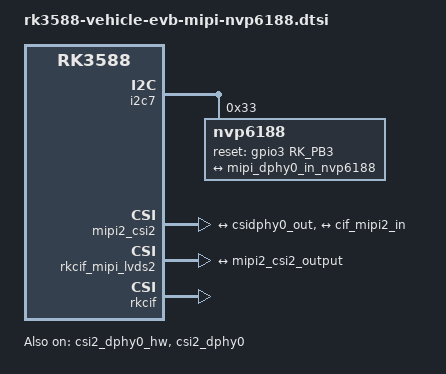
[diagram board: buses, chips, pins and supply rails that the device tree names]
// SPDX-License-Identifier: (GPL-2.0+ OR MIT)
/*
 * Copyright (c) 2022 Rockchip Electronics Co., Ltd.
 *
 */

&csi2_dphy0_hw {
	status = "okay";
};

&csi2_dphy0 {
	status = "okay";

	ports {
		#address-cells = <1>;
		#size-cells = <0>;
		port@0 {
			reg = <0>;
			#address-cells = <1>;
			#size-cells = <0>;

			mipi_dphy0_in_nvp6188: endpoint@1 {
				reg = <1>;
				remote-endpoint = <&nvp6188_out>;
				data-lanes = <1 2 3 4>;
			};
		};
		port@1 {
			reg = <1>;
			#address-cells = <1>;
			#size-cells = <0>;

			csidphy0_out: endpoint@0 {
				reg = <0>;
				remote-endpoint = <&mipi2_csi2_input>;
			};
		};
	};
};

&i2c7 {
	status = "okay";


	nvp6188: nvp6188@33 {
		compatible = "nvp6188";
		status = "okay";
		reg = <0x33>;
		clocks = <&cru CLK_MIPI_CAMARAOUT_M2>;
		clock-names = "xvclk";
		power-domains = <&power RK3588_PD_VI>;
		pinctrl-names = "default";
		pinctrl-0 = <&mipim1_camera1_clk>;
		rockchip,grf = <&sys_grf>;
		/*power-gpios = <&gpio3 RK_PC6 GPIO_ACTIVE_HIGH>;*/
		reset-gpios = <&gpio3 RK_PB3 GPIO_ACTIVE_HIGH>;
		rockchip,camera-module-index = <0>;
		rockchip,camera-module-facing = "back";
		rockchip,camera-module-name = "nvp6188";
		rockchip,camera-module-lens-name = "nvp6188";

		port {
			nvp6188_out: endpoint {
				remote-endpoint = <&mipi_dphy0_in_nvp6188>;
				data-lanes = <1 2 3 4>;
			};
		};
	};
};

&mipi2_csi2 {
	status = "okay";

	ports {
		#address-cells = <1>;
		#size-cells = <0>;

		port@0 {
			reg = <0>;
			#address-cells = <1>;
			#size-cells = <0>;

			mipi2_csi2_input: endpoint@1 {
				reg = <1>;
				remote-endpoint = <&csidphy0_out>;
			};
		};

		port@1 {
			reg = <1>;
			#address-cells = <1>;
			#size-cells = <0>;

			mipi2_csi2_output: endpoint@0 {
				reg = <0>;
				remote-endpoint = <&cif_mipi2_in>;
			};
		};
	};
};

&rkcif_mipi_lvds2 {
	status = "okay";
	/* parameters for do cif reset detecting:
	 * index0: monitor mode,
		   0 for idle,
		   1 for continue,
		   2 for trigger,
		   3 for hotplug (for nextchip)
	 * index1: the frame id to start timer,
		   min is 2
	 * index2: frame num of monitoring cycle
	 * index3: err time for keep monitoring
		   after finding out err (ms)
	 * index4: csi2 err reference val for resetting
	 */
	rockchip,cif-monitor = <3 2 1 1000 5>;

	port {
		cif_mipi2_in: endpoint {
			remote-endpoint = <&mipi2_csi2_output>;
		};
	};
};

&rkcif {
	status = "okay";
	// memory-region = <&cif_reserved>;
};

&rkcif_mmu {
	status = "okay";
};

